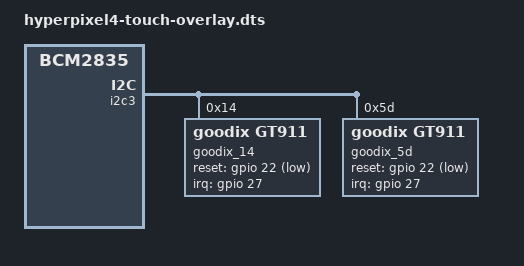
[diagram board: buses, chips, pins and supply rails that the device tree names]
/*
 * hyperpixel4-touch-overlay.dts
 *
 * Device tree overlay for the Goodix GT911 capacitive touchscreen
 * on HyperPixel 4.0 Rectangular.
 *
 * The touch controller is connected via I2C on GPIO 10 (SDA) / GPIO 11 (SCL),
 * with interrupt on GPIO 27.  The I2C bus is provided by the i2c-gpio overlay
 * (loaded separately in config.txt as dtoverlay=i2c-gpio,bus=3,...).
 *
 * The Goodix GT911 may respond at I2C address 0x14 or 0x5d depending on
 * the state of the interrupt pin at reset time.  We define both addresses
 * so the driver binds regardless.
 *
 * IMPORTANT — target = <&i2c3>:
 *   The i2c-gpio overlay exports a symbol called "i2c3" when loaded with
 *   bus=3.  We must reference that symbol here so the kernel places the
 *   GT911 node on the correct bit-banged bus (GPIO 10/11, bus 3), NOT on
 *   the BCM hardware I2C0 bus (GPIO 0/1).  Using target-path = "/i2c@0"
 *   would silently attach the device to the wrong bus and touch would never
 *   work.  For symbol resolution to succeed at boot the base DTB must have
 *   __symbols__ — post-image.sh recompiles it with dtc -@ for this reason.
 *
 * Compile:
 *   dtc -@ -I dts -O dtb -o hyperpixel4-touch.dtbo hyperpixel4-touch-overlay.dts
 */

/dts-v1/;
/plugin/;

/ {
    compatible = "brcm,bcm2835";

    /*
     * target = <&i2c3>
     * Attaches GT911 nodes to the i2c-gpio bus (bus=3, GPIO 10/11)
     * exported by the i2c-gpio overlay.  This is correct.
     *
     * DO NOT change to target-path = "/i2c@0" — that is the BCM hardware
     * I2C0 bus on GPIO 0/1, completely separate from the touch wiring.
     */
    fragment@0 {
        target = <&i2c3>;
        __overlay__ {
            #address-cells = <1>;
            #size-cells = <0>;

            goodix_14: goodix@14 {
                compatible = "goodix,gt911";
                reg = <0x14>;
                interrupt-parent = <&gpio>;
                interrupts = <27 2>;        /* GPIO 27, falling edge */
                reset-gpios = <&gpio 22 1>; /* GPIO 22, active low — required for probe */
                touchscreen-size-x = <480>;
                touchscreen-size-y = <800>;
                touchscreen-x-mm = <51>;
                touchscreen-y-mm = <85>;
                /* display_rotate=2 is a 180° flip: invert both axes, no swap */
                touchscreen-inverted-x;
                touchscreen-inverted-y;
            };

            goodix_5d: goodix@5d {
                compatible = "goodix,gt911";
                reg = <0x5d>;
                interrupt-parent = <&gpio>;
                interrupts = <27 2>;        /* GPIO 27, falling edge */
                reset-gpios = <&gpio 22 1>; /* GPIO 22, active low — required for probe */
                touchscreen-size-x = <480>;
                touchscreen-size-y = <800>;
                touchscreen-x-mm = <51>;
                touchscreen-y-mm = <85>;
                /* display_rotate=2 is a 180° flip: invert both axes, no swap */
                touchscreen-inverted-x;
                touchscreen-inverted-y;
            };
        };
    };
};
